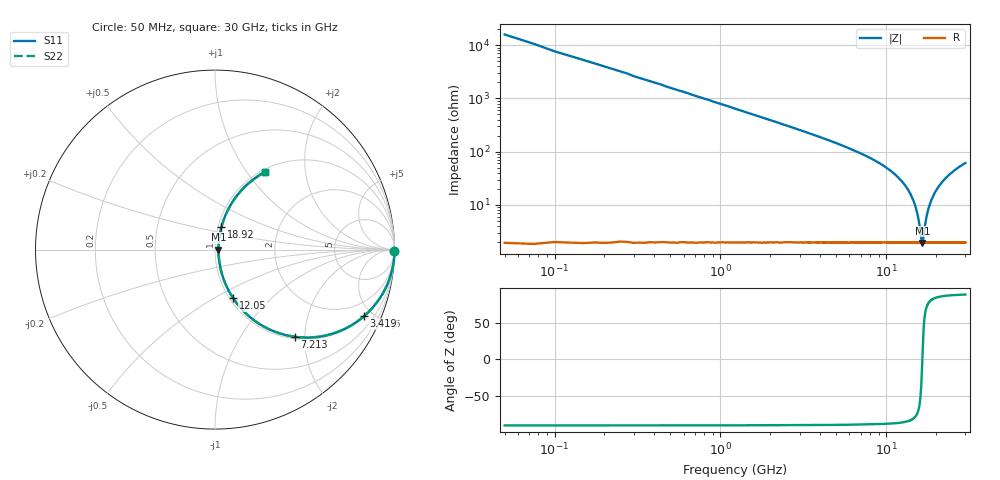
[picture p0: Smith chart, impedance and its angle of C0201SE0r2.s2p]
!	AVX Thin Film Operation 	Date: April 2014
!	Description: Accu-P® Series, Thin Film  SMD RF Capacitor
!	Part Number: 02011J0R2ZBSTR
# MHZ S MA R 50
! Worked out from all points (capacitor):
!   1201 points, 50 MHz to 30 GHz, reference 50 ohm
!   read as one part in series: C = 200 fF near 199.8 MHz
!   lowest |Z| = 1.94 ohm at 16.5 GHz (marker M1)
!   series resonance near 16.49 GHz, so ESL is about 470 pH
!   S11 on the Smith chart (normalised r, x): 50 MHz: open; 3.419 GHz: 1.04, -4.45; 7.213 GHz: 1.04, -1.79; 12.05 GHz: 1.04, -0.61; 18.92 GHz: 1.04, +0.27; 30 GHz: 1.04, +1.22
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50  1 -0.4  0.006283 89.6  0.006283 89.6  1 -0.4
249.667  0.999 -1.8  0.031 88.2  0.031 88.2  0.999 -1.8
374.458  0.999 -2.7  0.047 87.3  0.047 87.3  0.999 -2.7
599.083  0.997 -4.3  0.075 85.6  0.075 85.6  0.997 -4.3
898.583  0.993 -6.5  0.113 83.4  0.113 83.4  0.993 -6.5
1847  0.972 -13.2  0.229 76.5  0.229 76.5  0.972 -13.2
3419.375  0.909 -24.1  0.408 65.4  0.408 65.4  0.909 -24.1
5041.667  0.814 -34.7  0.569 54.5  0.569 54.5  0.814 -34.7
7213.042  0.659 -47.5  0.738 41.2  0.738 41.2  0.659 -47.5
10058.29  0.438 -61.8  0.882 26.0  0.882 26.0  0.438 -61.8
12054.96  0.289 -69.6  0.939 16.8  0.939 16.8  0.289 -69.6
13777.08  0.17 -73.8  0.967 9.7  0.967 9.7  0.17 -73.8
15025  0.09 -72.6  0.977 5.0  0.977 5.0  0.09 -72.6
15599.04  0.056 -66.8  0.979 3.0  0.979 3.0  0.056 -66.8
16322.83  0.022 -26.2  0.981 0.6  0.981 0.6  0.022 -26.2
16497.54  0.019 0.9  0.981 -0.0  0.981 -0.0  0.019 0.9
17595.71  0.064 69.0  0.979 -3.5  0.979 -3.5  0.064 69.0
18918.5  0.131 74.1  0.972 -7.4  0.972 -7.4  0.131 74.1
20016.67  0.182 73.6  0.964 -10.5  0.964 -10.5  0.182 73.6
22188.04  0.275 70.2  0.943 -15.9  0.943 -15.9  0.275 70.2
25033.29  0.377 65.2  0.908 -22.1  0.908 -22.1  0.377 65.2
30000  0.515 57.2  0.841 -31.0  0.841 -31.0  0.515 57.2
